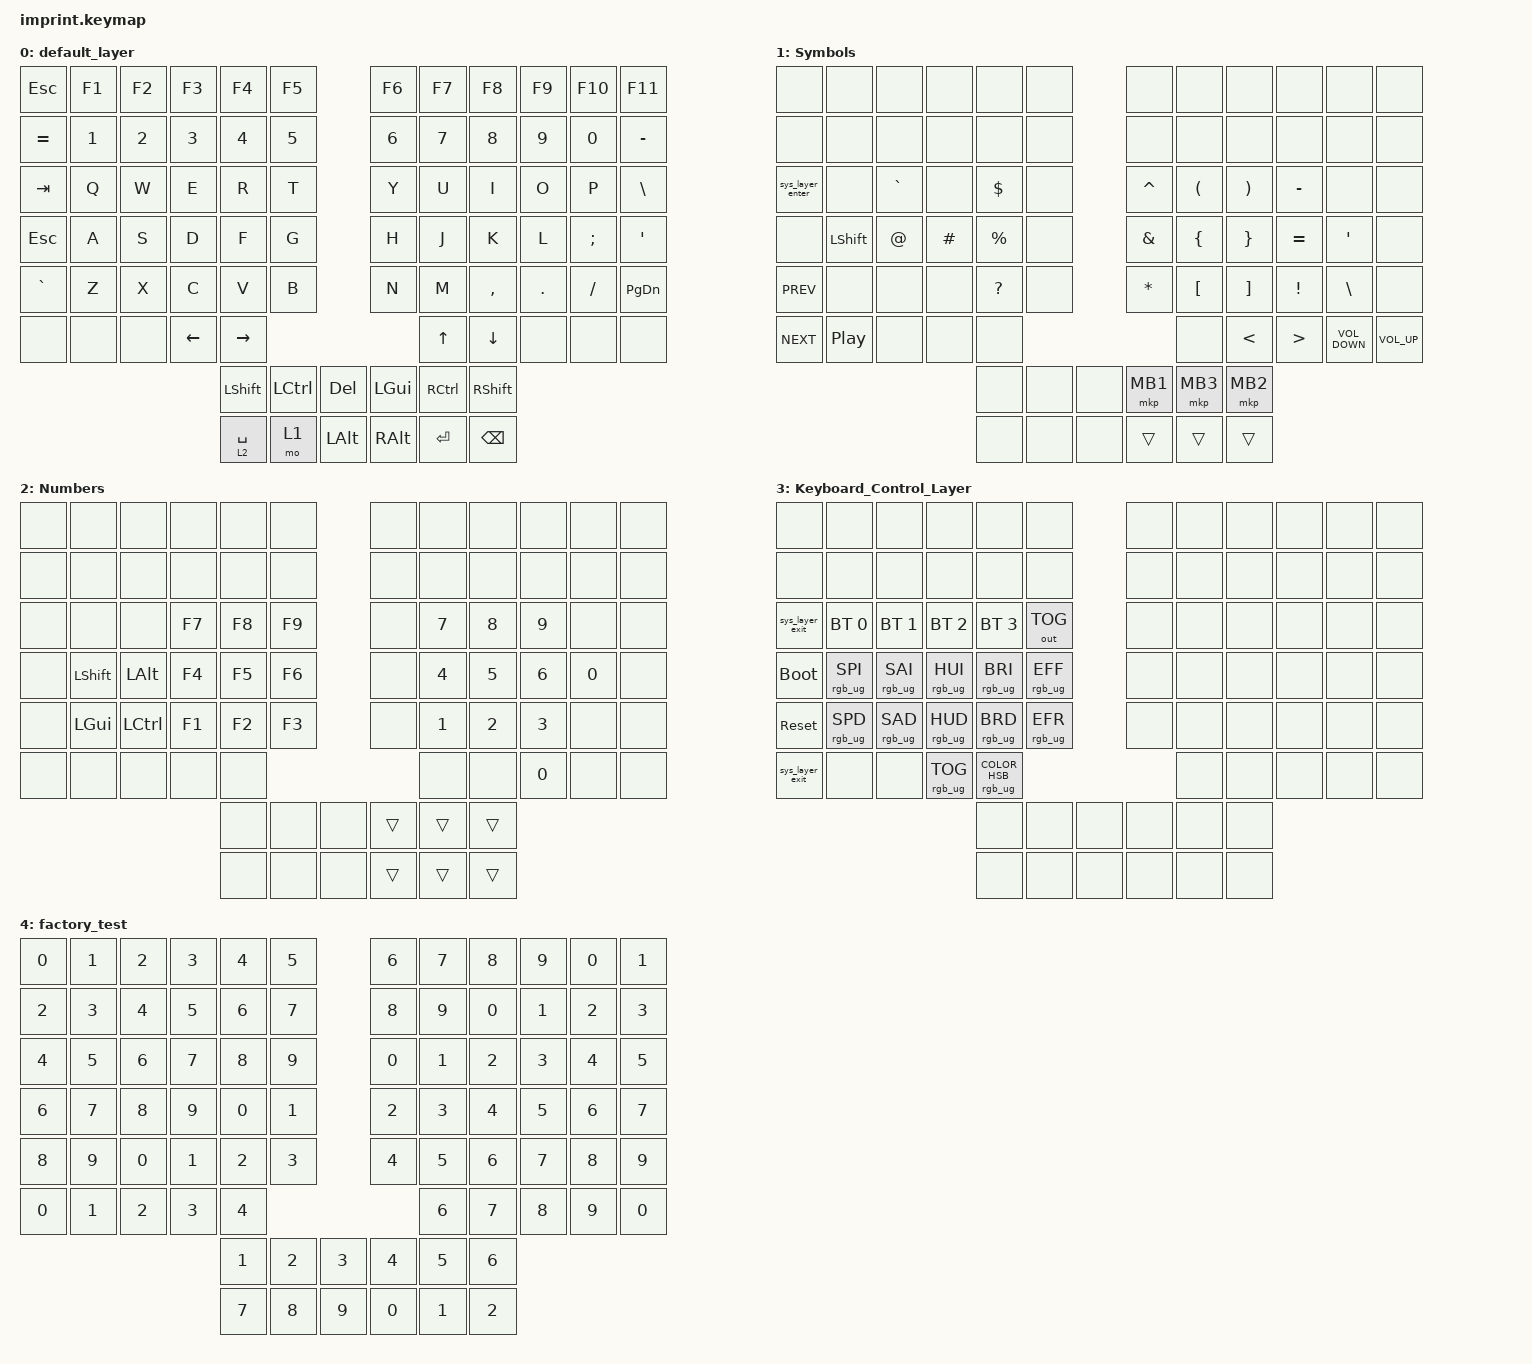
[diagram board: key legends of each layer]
#include <input/processors.dtsi>
#include <dt-bindings/zmk/input_transform.h>
#include <behaviors.dtsi>
#include <dt-bindings/zmk/bt.h>
#include <dt-bindings/zmk/keys.h>
#include <dt-bindings/zmk/outputs.h>
#include <dt-bindings/zmk/pointing.h>
#include <dt-bindings/zmk/rgb.h>

/ {
    chosen { zmk,matrix-transform = &imprint_function_row_full_bottom_row; };

    macros {
        sys_layer_enter: sys_layer_enter {
            compatible = "zmk,behavior-macro";
            #binding-cells = <0>;
            bindings = <&rgb_ug RGB_COLOR_HSB(0,0,35)>, <&to 3>;
        };
        sys_layer_exit: sys_layer_exit {
            compatible = "zmk,behavior-macro";
            #binding-cells = <0>;
            bindings = <&rgb_ug RGB_COLOR_HSB(10,60,35)>, <&to 0>;
        };
    };

    keymap {
        compatible = "zmk,keymap";

        default_layer {
            bindings = <
&kp ESC     &kp F1  &kp F2  &kp F3    &kp F4          &kp F5                 &kp F6        &kp F7     &kp F8           &kp F9   &kp F10   &kp F11
&kp EQUAL   &kp N1  &kp N2  &kp N3    &kp N4          &kp N5                 &kp N6        &kp N7     &kp N8           &kp N9   &kp N0    &kp MINUS
&kp TAB     &kp Q   &kp W   &kp E     &kp R           &kp T                  &kp Y         &kp U      &kp I            &kp O    &kp P     &kp BSLH
&kp ESCAPE  &kp A   &kp S   &kp D     &kp F           &kp G                  &kp H         &kp J      &kp K            &kp L    &kp SEMI  &kp SQT
&kp GRAVE   &kp Z   &kp X   &kp C     &kp V           &kp B                  &kp N         &kp M      &kp COMMA        &kp DOT  &kp FSLH  &kp PAGE_DOWN
&none       &none   &none   &kp LEFT  &kp RIGHT                                            &kp UP     &kp DOWN         &none    &none     &none
                                      &kp LEFT_SHIFT  &kp LCTRL  &kp DEL     &kp LEFT_GUI  &kp RCTRL  &kp RIGHT_SHIFT
                                      &lt 2 SPACE     &mo 1      &kp LALT    &kp RALT      &kp ENTER  &kp BACKSPACE
            >;
        };

        Symbols {
            bindings = <
&none       &none             &none        &none     &none         &none           &none      &none                 &none                  &none             &none              &none
&none       &none             &none        &none     &none         &none           &none      &none                 &none                  &none             &none              &none
&sys_layer_enter  &none        &kp GRAVE    &none     &kp DOLLAR    &none           &kp CARET  &kp LEFT_PARENTHESIS  &kp RIGHT_PARENTHESIS  &kp MINUS         &none              &none
&none       &kp LEFT_SHIFT    &kp AT_SIGN  &kp HASH  &kp PERCENT   &none           &kp AMPS   &kp LEFT_BRACE        &kp RIGHT_BRACE        &kp EQUAL         &kp SINGLE_QUOTE   &none
&kp C_PREV  &none             &none        &none     &kp QUESTION  &none           &kp ASTRK  &kp LEFT_BRACKET      &kp RIGHT_BRACKET      &kp EXCLAMATION   &kp BACKSLASH      &none
&kp C_NEXT  &kp C_PLAY_PAUSE  &none        &none     &none                                    &none                 &kp LESS_THAN          &kp GREATER_THAN  &kp C_VOLUME_DOWN  &kp C_VOL_UP
                                                     &none         &none  &none    &mkp MB1   &mkp MB3              &mkp MB2
                                                     &none         &none  &none    &trans     &trans                &trans
            >;
        };

        Numbers {
            bindings = <
&none  &none       &none      &none   &none   &none            &none   &none         &none         &none         &none   &none
&none  &none       &none      &none   &none   &none            &none   &none         &none         &none         &none   &none
&none  &none       &none      &kp F7  &kp F8  &kp F9           &none   &kp N7        &kp N8        &kp N9        &none   &none
&none  &kp LSHIFT  &kp LALT   &kp F4  &kp F5  &kp F6           &none   &kp NUMBER_4  &kp N5        &kp NUMBER_6  &kp N0  &none
&none  &kp LGUI    &kp LCTRL  &kp F1  &kp F2  &kp F3           &none   &kp NUMBER_1  &kp NUMBER_2  &kp NUMBER_3  &none   &none
&none  &none       &none      &none   &none                            &none         &none         &kp N0        &none   &none
                                      &none   &none   &none    &trans  &trans        &trans
                                      &none   &none   &none    &trans  &trans        &trans
            >;
        };

        Keyboard_Control_Layer {
            bindings = <
&none        &none            &none            &none            &none                           &none                     &none  &none  &none  &none  &none  &none
&none        &none            &none            &none            &none                           &none                     &none  &none  &none  &none  &none  &none
&sys_layer_exit  &bt BT_SEL 0 &bt BT_SEL 1     &bt BT_SEL 2     &bt BT_SEL 3                    &out OUT_TOG              &none  &none  &none  &none  &none  &none
&bootloader  &rgb_ug RGB_SPI  &rgb_ug RGB_SAI  &rgb_ug RGB_HUI  &rgb_ug RGB_BRI                 &rgb_ug RGB_EFF           &none  &none  &none  &none  &none  &none
&sys_reset   &rgb_ug RGB_SPD  &rgb_ug RGB_SAD  &rgb_ug RGB_HUD  &rgb_ug RGB_BRD                 &rgb_ug RGB_EFR           &none  &none  &none  &none  &none  &none
&sys_layer_exit  &none        &none            &rgb_ug RGB_TOG  &rgb_ug RGB_COLOR_HSB(2,90,17)                                   &none  &none  &none  &none  &none
                                                                &none                           &none            &none    &none  &none  &none
                                                                &none                           &none            &none    &none  &none  &none
            >;
        };

        factory_test {
            bindings = <
&kp N0  &kp N1  &kp N2  &kp N3  &kp N4  &kp N5            &kp N6  &kp N7  &kp N8  &kp N9  &kp N0  &kp N1
&kp N2  &kp N3  &kp N4  &kp N5  &kp N6  &kp N7            &kp N8  &kp N9  &kp N0  &kp N1  &kp N2  &kp N3
&kp N4  &kp N5  &kp N6  &kp N7  &kp N8  &kp N9            &kp N0  &kp N1  &kp N2  &kp N3  &kp N4  &kp N5
&kp N6  &kp N7  &kp N8  &kp N9  &kp N0  &kp N1            &kp N2  &kp N3  &kp N4  &kp N5  &kp N6  &kp N7
&kp N8  &kp N9  &kp N0  &kp N1  &kp N2  &kp N3            &kp N4  &kp N5  &kp N6  &kp N7  &kp N8  &kp N9
&kp N0  &kp N1  &kp N2  &kp N3  &kp N4                            &kp N6  &kp N7  &kp N8  &kp N9  &kp N0
                                &kp N1  &kp N2  &kp N3    &kp N4  &kp N5  &kp N6
                                &kp N7  &kp N8  &kp N9    &kp N0  &kp N1  &kp N2
            >;
        };
    };
};

//right hand trackball configuration
// &trackball_peripheral_listener {
//  input-processors =
// this gets it to the default installation orientation,,,,,,,,,,,,,,,,,
//<&zip_xy_transform INPUT_TRANSFORM_XY_SWAP>;
// activate layer 3 within 500ms of the trackball moving
// <&zip_temp_layer 3 500>;
//};
//left hand trackball configuration

&trackball_central_listener {
    input-processors =
        // this gets it to the default installation orientation,,,,,,,,,,,,,,,,,,,,,,,,,,,,,,,
        // <&zip_xy_transform INPUT_TRANSFORM_XY_SWAP>,,,,,,,,,,,,,,
        // multiply sensitivity by 1, divide by 25 (make it slower for scrolling),,,,,,,,,,,,,,,,,,,,,,,,,,,,,,,
        <&zip_xy_scaler 1 25>,
        // make this trackball output scrolling events by default instead of cursor movement,,,,,,,,,,,,,,,,,,,,,,,,,,,,,,,
        <&zip_xy_to_scroll_mapper>,
        // invert vertical scrolling so that the view moves in the same direction as the top of the trackball.,,,,,,,,,,,,,,,,,,,,,,,,,,,,,,,
        <&zip_scroll_transform INPUT_TRANSFORM_Y_INVERT>,
        <&zip_scroll_transform INPUT_TRANSFORM_X_INVERT>;
};
